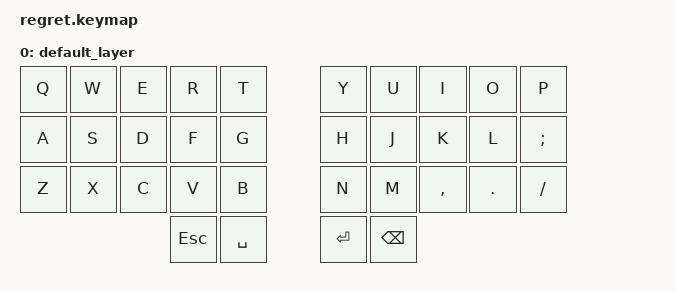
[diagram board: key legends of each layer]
#include <behaviors.dtsi>
#include <dt-bindings/zmk/keys.h>
#include <dt-bindings/zmk/rgb.h>

/ {
    combos {
        compatible = "zmk,combos";
        /* Top corners (Q+P) = bootloader */
        combo_boot {
            key-positions = <0 9>;
            bindings = <&bootloader>;
        };
        /* Bottom corners (Z+/) = RGB toggle */
        combo_rgb_tog {
            key-positions = <20 29>;
            bindings = <&rgb_ug RGB_TOG>;
        };
    };

    keymap {
        compatible = "zmk,keymap";

        default_layer {
// ------------------------------------------------------------------------------------------------------
// |    Q    |    W    |    E    |    R    |    T    |    Y    |    U    |    I    |    O    |    P    |
// |    A    |    S    |    D    |    F    |    G    |    H    |    J    |    K    |    L    |    ;    |
// |    Z    |    X    |    C    |    V    |    B    |    N    |    M    |    ,    |    .    |    /    |
//                               |   ESC   |  SPACE  | RETURN  |   BSPC  |
            bindings = <
    &kp Q    &kp W     &kp E     &kp R     &kp T     &kp Y     &kp U     &kp I     &kp O     &kp P
    &kp A    &kp S     &kp D     &kp F     &kp G     &kp H     &kp J     &kp K     &kp L     &kp SEMI
    &kp Z    &kp X     &kp C     &kp V     &kp B     &kp N     &kp M     &kp COMMA &kp DOT   &kp FSLH
                                 &kp ESC   &kp SPACE &kp RET   &kp BSPC
            >;
        };
    };
};
